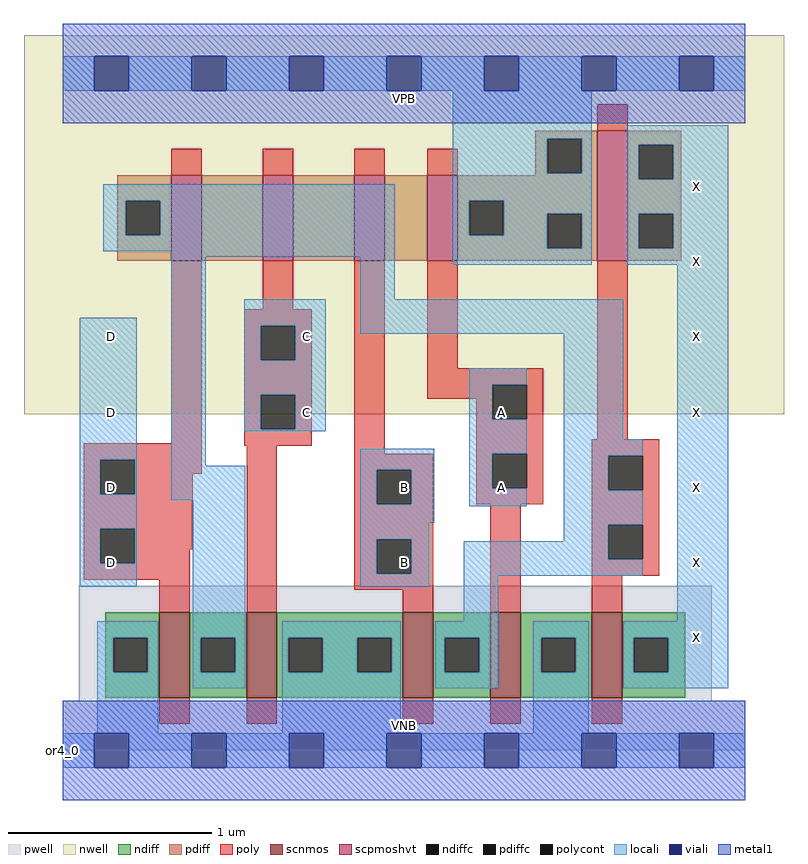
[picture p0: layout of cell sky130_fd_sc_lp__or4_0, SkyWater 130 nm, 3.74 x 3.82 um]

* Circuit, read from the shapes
.subckt sky130_fd_sc_lp__or4_0 A B C D VGND VNB VPB VPWR X
XM1 n1 D VGND VNB sky130_fd_pr__nfet_01v8 w=0.42 l=0.15
XM2 VGND C n1 VNB sky130_fd_pr__nfet_01v8 w=0.42 l=0.15
XM3 n1 B VGND VNB sky130_fd_pr__nfet_01v8 w=0.42 l=0.15
XM4 VGND A n1 VNB sky130_fd_pr__nfet_01v8 w=0.42 l=0.15
XM5 X n1 VGND VNB sky130_fd_pr__nfet_01v8 w=0.42 l=0.15
XM6 n2 D n1 VPB sky130_fd_pr__pfet_01v8_hvt w=0.42 l=0.15
XM7 n3 C n2 VPB sky130_fd_pr__pfet_01v8_hvt w=0.42 l=0.15
XM8 n4 B n3 VPB sky130_fd_pr__pfet_01v8_hvt w=0.42 l=0.15
XM9 VPWR A n4 VPB sky130_fd_pr__pfet_01v8_hvt w=0.42 l=0.15
XM10 X n1 VPWR VPB sky130_fd_pr__pfet_01v8_hvt w=0.64 l=0.15
.ends

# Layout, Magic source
magic
tech sky130A
magscale 1 2
<< nwell >>
rect -38 331 710 704
<< pwell >>
rect 16 49 639 162
rect 0 0 672 49
<< scnmos >>
rect 95 52 125 136
rect 181 52 211 136
rect 335 52 365 136
rect 421 52 451 136
rect 521 52 551 136
<< scpmoshvt >>
rect 107 482 137 566
rect 197 482 227 566
rect 287 482 317 566
rect 359 482 389 566
rect 526 482 556 610
<< ndiff >>
rect 42 111 95 136
rect 42 77 50 111
rect 84 77 95 111
rect 42 52 95 77
rect 125 111 181 136
rect 125 77 136 111
rect 170 77 181 111
rect 125 52 181 77
rect 211 111 335 136
rect 211 77 222 111
rect 256 77 290 111
rect 324 77 335 111
rect 211 52 335 77
rect 365 111 421 136
rect 365 77 376 111
rect 410 77 421 111
rect 365 52 421 77
rect 451 111 521 136
rect 451 77 471 111
rect 505 77 521 111
rect 451 52 521 77
rect 551 111 613 136
rect 551 77 562 111
rect 596 77 613 111
rect 551 52 613 77
<< pdiff >>
rect 465 602 526 610
rect 465 568 477 602
rect 511 568 526 602
rect 465 566 526 568
rect 54 541 107 566
rect 54 507 62 541
rect 96 507 107 541
rect 54 482 107 507
rect 137 482 197 566
rect 227 482 287 566
rect 317 482 359 566
rect 389 541 526 566
rect 389 507 400 541
rect 434 528 526 541
rect 434 507 477 528
rect 389 494 477 507
rect 511 494 526 528
rect 389 482 526 494
rect 556 596 609 610
rect 556 562 567 596
rect 601 562 609 596
rect 556 528 609 562
rect 556 494 567 528
rect 601 494 609 528
rect 556 482 609 494
<< ndiffc >>
rect 50 77 84 111
rect 136 77 170 111
rect 222 77 256 111
rect 290 77 324 111
rect 376 77 410 111
rect 471 77 505 111
rect 562 77 596 111
<< pdiffc >>
rect 477 568 511 602
rect 62 507 96 541
rect 400 507 434 541
rect 477 494 511 528
rect 567 562 601 596
rect 567 494 601 528
<< poly >>
rect 526 610 556 636
rect 107 566 137 592
rect 197 566 227 592
rect 287 566 317 592
rect 359 566 389 592
rect 107 302 137 482
rect 197 434 227 482
rect 21 286 137 302
rect 179 418 245 434
rect 179 384 195 418
rect 229 384 245 418
rect 179 350 245 384
rect 179 316 195 350
rect 229 316 245 350
rect 179 300 245 316
rect 21 252 37 286
rect 71 272 137 286
rect 71 252 128 272
rect 21 218 128 252
rect 21 184 37 218
rect 71 198 128 218
rect 71 184 125 198
rect 21 168 125 184
rect 95 136 125 168
rect 181 136 211 300
rect 287 292 317 482
rect 359 376 389 482
rect 359 360 473 376
rect 359 346 423 360
rect 407 326 423 346
rect 457 326 473 360
rect 407 292 473 326
rect 526 306 556 482
rect 287 276 365 292
rect 287 242 309 276
rect 343 242 365 276
rect 407 258 423 292
rect 457 258 473 292
rect 407 242 473 258
rect 521 290 587 306
rect 521 256 537 290
rect 571 256 587 290
rect 287 208 365 242
rect 287 174 309 208
rect 343 174 365 208
rect 287 158 365 174
rect 335 136 365 158
rect 421 136 451 242
rect 521 222 587 256
rect 521 188 537 222
rect 571 188 587 222
rect 521 172 587 188
rect 521 136 551 172
rect 95 26 125 52
rect 181 26 211 52
rect 335 26 365 52
rect 421 26 451 52
rect 521 26 551 52
<< polycont >>
rect 195 384 229 418
rect 195 316 229 350
rect 37 252 71 286
rect 37 184 71 218
rect 423 326 457 360
rect 309 242 343 276
rect 423 258 457 292
rect 537 256 571 290
rect 309 174 343 208
rect 537 188 571 222
<< locali >>
rect 0 649 31 683
rect 65 649 127 683
rect 161 649 223 683
rect 257 649 319 683
rect 353 649 415 683
rect 449 649 511 683
rect 545 649 607 683
rect 641 649 672 683
rect 384 602 521 649
rect 384 568 477 602
rect 511 568 521 602
rect 40 541 327 557
rect 40 507 62 541
rect 96 507 327 541
rect 40 491 327 507
rect 107 486 327 491
rect 17 286 73 426
rect 17 252 37 286
rect 71 252 73 286
rect 17 218 73 252
rect 107 280 141 486
rect 293 444 327 486
rect 384 541 521 568
rect 384 507 400 541
rect 434 528 521 541
rect 434 507 477 528
rect 384 494 477 507
rect 511 494 521 528
rect 384 478 521 494
rect 555 596 655 615
rect 555 562 567 596
rect 601 562 655 596
rect 555 528 655 562
rect 555 494 567 528
rect 601 494 655 528
rect 555 478 655 494
rect 179 418 259 444
rect 179 384 195 418
rect 229 384 259 418
rect 293 410 552 444
rect 179 350 259 384
rect 179 316 195 350
rect 229 316 259 350
rect 179 314 259 316
rect 400 360 457 376
rect 400 326 423 360
rect 107 246 180 280
rect 17 184 37 218
rect 71 184 73 218
rect 17 161 73 184
rect 34 111 94 127
rect 34 77 50 111
rect 84 77 94 111
rect 34 17 94 77
rect 128 111 180 246
rect 293 276 366 297
rect 293 242 309 276
rect 343 242 366 276
rect 293 224 366 242
rect 400 292 457 326
rect 400 258 423 292
rect 400 240 457 258
rect 493 306 552 410
rect 493 290 571 306
rect 493 256 537 290
rect 293 208 361 224
rect 293 174 309 208
rect 343 174 361 208
rect 493 222 571 256
rect 493 206 537 222
rect 293 161 361 174
rect 395 188 537 206
rect 395 172 571 188
rect 395 127 429 172
rect 605 127 655 478
rect 128 77 136 111
rect 170 77 180 111
rect 128 61 180 77
rect 216 111 333 127
rect 216 77 222 111
rect 256 77 290 111
rect 324 77 333 111
rect 216 17 333 77
rect 367 111 429 127
rect 367 77 376 111
rect 410 77 429 111
rect 367 61 429 77
rect 463 111 518 127
rect 463 77 471 111
rect 505 77 518 111
rect 463 17 518 77
rect 552 111 655 127
rect 552 77 562 111
rect 596 77 655 111
rect 552 61 655 77
rect 0 -17 31 17
rect 65 -17 127 17
rect 161 -17 223 17
rect 257 -17 319 17
rect 353 -17 415 17
rect 449 -17 511 17
rect 545 -17 607 17
rect 641 -17 672 17
<< viali >>
rect 31 649 65 683
rect 127 649 161 683
rect 223 649 257 683
rect 319 649 353 683
rect 415 649 449 683
rect 511 649 545 683
rect 607 649 641 683
rect 31 -17 65 17
rect 127 -17 161 17
rect 223 -17 257 17
rect 319 -17 353 17
rect 415 -17 449 17
rect 511 -17 545 17
rect 607 -17 641 17
<< metal1 >>
rect 0 683 672 715
rect 0 649 31 683
rect 65 649 127 683
rect 161 649 223 683
rect 257 649 319 683
rect 353 649 415 683
rect 449 649 511 683
rect 545 649 607 683
rect 641 649 672 683
rect 0 617 672 649
rect 0 17 672 49
rect 0 -17 31 17
rect 65 -17 127 17
rect 161 -17 223 17
rect 257 -17 319 17
rect 353 -17 415 17
rect 449 -17 511 17
rect 545 -17 607 17
rect 641 -17 672 17
rect 0 -49 672 -17
<< labels >>
flabel pwell s 0 0 672 49 0 FreeSans 200 0 0 0 VNB
port 6 nsew ground bidirectional
flabel nwell s 0 617 672 666 0 FreeSans 200 0 0 0 VPB
port 7 nsew power bidirectional
rlabel comment s 0 0 0 0 4 or4_0
flabel metal1 s 0 617 672 666 0 FreeSans 340 0 0 0 VPWR
port 8 nsew power bidirectional
flabel metal1 s 0 0 672 49 0 FreeSans 340 0 0 0 VGND
port 5 nsew ground bidirectional
flabel locali s 415 242 449 276 0 FreeSans 340 0 0 0 A
port 1 nsew signal input
flabel locali s 415 316 449 350 0 FreeSans 340 0 0 0 A
port 1 nsew signal input
flabel locali s 319 168 353 202 0 FreeSans 340 0 0 0 B
port 2 nsew signal input
flabel locali s 319 242 353 276 0 FreeSans 340 0 0 0 B
port 2 nsew signal input
flabel locali s 223 316 257 350 0 FreeSans 340 0 0 0 C
port 3 nsew signal input
flabel locali s 223 390 257 424 0 FreeSans 340 0 0 0 C
port 3 nsew signal input
flabel locali s 31 168 65 202 0 FreeSans 340 0 0 0 D
port 4 nsew signal input
flabel locali s 31 242 65 276 0 FreeSans 340 0 0 0 D
port 4 nsew signal input
flabel locali s 31 316 65 350 0 FreeSans 340 0 0 0 D
port 4 nsew signal input
flabel locali s 31 390 65 424 0 FreeSans 340 0 0 0 D
port 4 nsew signal input
flabel locali s 607 94 641 128 0 FreeSans 340 0 0 0 X
port 9 nsew signal output
flabel locali s 607 168 641 202 0 FreeSans 340 0 0 0 X
port 9 nsew signal output
flabel locali s 607 242 641 276 0 FreeSans 340 0 0 0 X
port 9 nsew signal output
flabel locali s 607 316 641 350 0 FreeSans 340 0 0 0 X
port 9 nsew signal output
flabel locali s 607 390 641 424 0 FreeSans 340 0 0 0 X
port 9 nsew signal output
flabel locali s 607 464 641 498 0 FreeSans 340 0 0 0 X
port 9 nsew signal output
flabel locali s 607 538 641 572 0 FreeSans 340 0 0 0 X
port 9 nsew signal output
<< properties >>
string LEFsite unit
string LEFclass CORE
string FIXED_BBOX 0 0 672 666
string GDS_FILE $PDKPATH/libs.ref/sky130_fd_sc_lp/gds/sky130_fd_sc_lp.gds
string LEFsymmetry X Y R90
string GDS_END 312518
string GDS_START 305036
<< end >>
